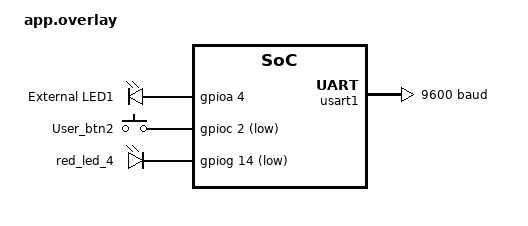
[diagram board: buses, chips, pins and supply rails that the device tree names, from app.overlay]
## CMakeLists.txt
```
#1. Declare minimum CMake version required to build this project
cmake_minimum_required(VERSION 3.20.0)

set(SIMULATION_MODE "OFF" CACHE STRING "Simulation mode: OFF, ON, or EMU")

if(SIMULATION_MODE STREQUAL "EMU")
    set(DTC_OVERLAY_FILE ${CMAKE_CURRENT_SOURCE_DIR}/app_emulation.overlay)
    set(BOARD qemu_cortex_m0)
    set(CONF_FILE ${CMAKE_CURRENT_SOURCE_DIR}/prj_emulation.conf)
elseif(SIMULATION_MODE STREQUAL "ON")
    set(DTC_OVERLAY_FILE ${CMAKE_CURRENT_SOURCE_DIR}/app_picsimlab.overlay)
    set(BOARD nucleo_f103rb)
    set(CONF_FILE ${CMAKE_CURRENT_SOURCE_DIR}/prj_picsimlab.conf)
else()
    set(DTC_OVERLAY_FILE ${CMAKE_CURRENT_SOURCE_DIR}/app.overlay)
    set(BOARD stm32f429i_disc1)
    set(CONF_FILE ${CMAKE_CURRENT_SOURCE_DIR}/prj.conf)
endif()

#2. Locate Zephyr build system as a CMake module
find_package(Zephyr REQUIRED HINTS $ENV{ZEPHYR_BASE})
#3. Name your project
project(Testing_IRQ)
#4. Tell Zephyr which source files to use
target_sources(app PRIVATE src/main.c src/queue.c)
#5. Add include directories
target_include_directories(app PRIVATE inc)
#6. Set properties for the executable target 'app'
```

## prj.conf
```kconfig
# CONFIG_STM32_BOARD=y
# CONFIG_STM32_PICSIMLAB=n

CONFIG_GPIO=y

# Debug Configuration
CONFIG_DEBUG=y
CONFIG_DEBUG_OPTIMIZATIONS=y
CONFIG_SYMTAB=y

# Console for debug output
CONFIG_CONSOLE=y
CONFIG_UART_CONSOLE=y
CONFIG_SERIAL=y
CONFIG_PRINTK=y
CONFIG_UART_INTERRUPT_DRIVEN=y

# Optional: Enable debug thread info
CONFIG_DEBUG_THREAD_INFO=y
CONFIG_THREAD_MONITOR=y
CONFIG_THREAD_NAME=y

# Enable time slicing for threads
CONFIG_TIMESLICING=y

# Set the time slice duration (in milliseconds)
CONFIG_TIMESLICE_SIZE=10

# Time slice priority threshold
CONFIG_TIMESLICE_PRIORITY=1

# Set maximum number of preempt priorities
CONFIG_NUM_PREEMPT_PRIORITIES=127

# Set cooperative thread priorities
CONFIG_NUM_COOP_PRIORITIES=128
```

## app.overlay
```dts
&usart1 {
    current-speed = <9600>;
    interrupts = <37 2>;
};
&red_led_4 {
    gpios = <&gpiog 14 GPIO_ACTIVE_LOW>;
};
/ {
    aliases {
        led1 = &red_led_4;
        led2 = &custom_led1;
        stlink-uart = &usart1;
    };

    leds {
        compatible = "gpio-leds";        

        custom_led1: custom_led1 {
            label = "External LED1";
            gpios = <&gpioa 4 0>;
        };        
    };

	gpio_keys {
		compatible = "gpio-keys";

		button2: button2{
			label = "User_btn2";
			gpios = <&gpioc 2 GPIO_ACTIVE_LOW>;
			zephyr,code = <INPUT_KEY_0>;
		};
	};    

};
```

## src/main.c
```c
/*
 * Copyright (c) 2022 Libre Solar Technologies GmbH
 *
 * SPDX-License-Identifier: Apache-2.0
 */

#include <zephyr/kernel.h>
#include <zephyr/sys/printk.h>
#include <zephyr/device.h>
#include <zephyr/drivers/uart.h>

#include <string.h>

/* change this to any other UART peripheral if desired */
#define UART_DEVICE_NODE  DT_NODELABEL(usart1)//DT_CHOSEN(zephyr_shell_uart)

#define MSG_SIZE 32

/* queue to store up to 10 messages (aligned to 4-byte boundary) */
K_MSGQ_DEFINE(uart_msgq, MSG_SIZE, 10, 4);

static const struct device *const uart_dev = DEVICE_DT_GET(UART_DEVICE_NODE);

/* receive buffer used in UART ISR callback */
static char rx_buf[MSG_SIZE];
static int rx_buf_pos;

/*
 * Read characters from UART until line end is detected. Afterwards push the
 * data to the message queue.
 */
void serial_cb(const struct device *dev, void *user_data);

/*
 * Print a null-terminated string character by character to the UART interface
 */
void print_uart(char *buf);

int main(void)
{
	char tx_buf[MSG_SIZE];

	if (!device_is_ready(uart_dev)) {
		printk("UART device not found!");
		return 0;
	}

	/* configure interrupt and callback to receive data */
	int ret = uart_irq_callback_user_data_set(uart_dev, serial_cb, NULL);

	if (ret < 0) {
		if (ret == -ENOTSUP) {
			printk("Interrupt-driven UART API support not enabled\n");
		} else if (ret == -ENOSYS) {
			printk("UART device does not support interrupt-driven API\n");
		} else {
			printk("Error setting UART callback: %d\n", ret);
		}
		return 0;
	}
	uart_irq_rx_enable(uart_dev);

	print_uart("Hello! I'm your echo bot.\n");
	print_uart("Tell me something and press enter:\n");

	/* indefinitely wait for input from the user */
	while (k_msgq_get(&uart_msgq, &tx_buf[0], K_FOREVER) == 0) {
		print_uart("Echo: ");
		print_uart(tx_buf);
		print_uart("\r\n");
	}
	return 0;
}

void print_uart(char *buf)
{
	int msg_len = strlen(buf);

	for (int i = 0; i < msg_len; i++) {
		uart_poll_out(uart_dev, buf[i]);
        k_msleep(1);
	}
}

void serial_cb(const struct device *dev, void *user_data)
{
	uint8_t c;

	if (!uart_irq_update(uart_dev)) {
		return;
	}

	if (!uart_irq_rx_ready(uart_dev)) {
		return;
	}

	/* read until FIFO empty */
	while (uart_fifo_read(uart_dev, &c, 1) == 1) {
		if ((c == '\n' || c == '\r') && rx_buf_pos > 0) {
			/* terminate string */
			rx_buf[rx_buf_pos] = '\0';

			/* if queue is full, message is silently dropped */
			k_msgq_put(&uart_msgq, &rx_buf, K_NO_WAIT);

			/* reset the buffer (it was copied to the msgq) */
			rx_buf_pos = 0;
		} else if (rx_buf_pos < (sizeof(rx_buf) - 1)) {
			rx_buf[rx_buf_pos++] = c;
		}
        else
        {
            rx_buf_pos = 0;
            rx_buf[rx_buf_pos++] = c;
        }
		/* else: characters beyond buffer size are dropped */
	}
}
```
